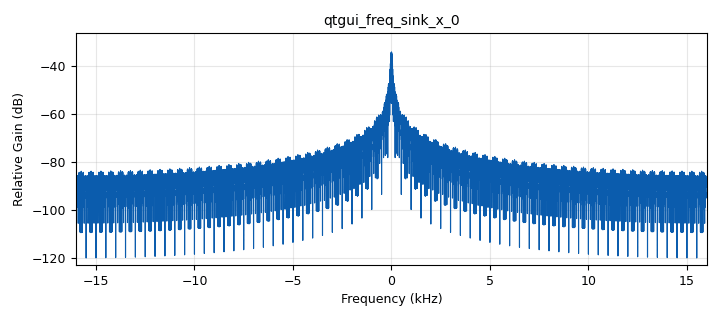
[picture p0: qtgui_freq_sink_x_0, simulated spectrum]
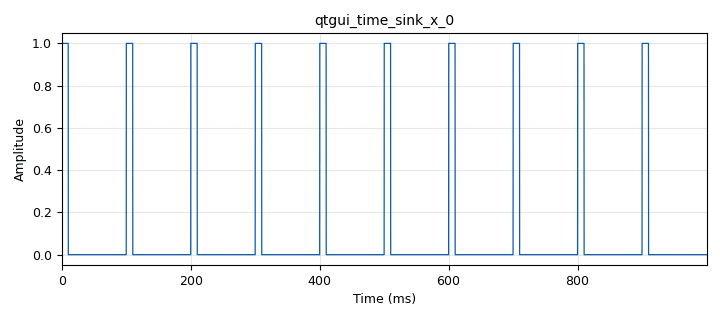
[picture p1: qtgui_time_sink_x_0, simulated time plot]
options:
  parameters:
    generate_options: qt_gui
    id: top_block
    output_language: python
  states: {}

blocks:
- name: f0
  id: variable_qtgui_range
  parameters:
    gui_hint: (1,0,1,1)
    start: '-2000'
    step: '1'
    stop: '2000'
    value: '1000'
  states: {state: disabled}
- name: offset
  id: variable_qtgui_range
  parameters:
    gui_hint: (0, 0, 1, 1)
    start: '-1'
    step: '.01'
    stop: '1'
    value: '0'
  states: {state: disabled}
- name: samp_rate
  id: variable
  parameters:
    value: '32000'
  states: {}
- name: tag
  id: variable_tag_object
  parameters:
    key: pmt.intern("t0")
    offset: '0'
    src: pmt.intern("vecsrc")
    value: pmt.intern("0")
  states: {}
- name: tau
  id: variable_qtgui_range
  parameters:
    start: '0'
    step: '.001'
    stop: '.1'
    value: '.01'
  states: {}
- name: waveform
  id: variable_qtgui_chooser
  parameters:
    gui_hint: (0, 1, 2, 1)
    label: Waveform Select
    label0: Cosine
    label1: Square
    label2: Triangle
    label3: Sawtooth
    num_opts: '4'
    option0: '102'
    option1: '103'
    option2: '104'
    option3: '105'
    type: int
    value: '102'
    widget: radio_buttons
  states: {state: disabled}
- name: blocks_throttle_0
  id: blocks_throttle
  parameters:
    samples_per_second: samp_rate
    type: float
  states: {}
- name: blocks_vector_source_x_0
  id: blocks_vector_source_x
  parameters:
    repeat: 'True'
    tags: '[tag]'
    type: float
    vector: np.hstack((np.ones(int(tau*samp_rate)), np.zeros(int((.1-tau)*samp_rate))))
  states: {}
- name: import_0
  id: import
  parameters:
    imports: import numpy as np
  states: {}
- name: qtgui_freq_sink_x_0
  id: qtgui_freq_sink_x
  parameters:
    autoscale: 'True'
    bw: samp_rate
    fc: '0'
    fftsize: 1024*6
    gui_hint: (2, 1, 1, 1)
    tr_mode: qtgui.TRIG_MODE_TAG
    tr_tag: '"t0"'
    type: float
  states: {}
- name: qtgui_time_sink_x_0
  id: qtgui_time_sink_x
  parameters:
    autoscale: 'True'
    gui_hint: (2, 0, 1, 1)
    size: samp_rate
    srate: samp_rate
    tr_mode: qtgui.TRIG_MODE_TAG
    tr_tag: '"t0"'
    type: float
  states: {}

connections:
- [blocks_throttle_0, '0', qtgui_freq_sink_x_0, '0']
- [blocks_throttle_0, '0', qtgui_time_sink_x_0, '0']
- [blocks_vector_source_x_0, '0', blocks_throttle_0, '0']

metadata:
  file_format: 1
